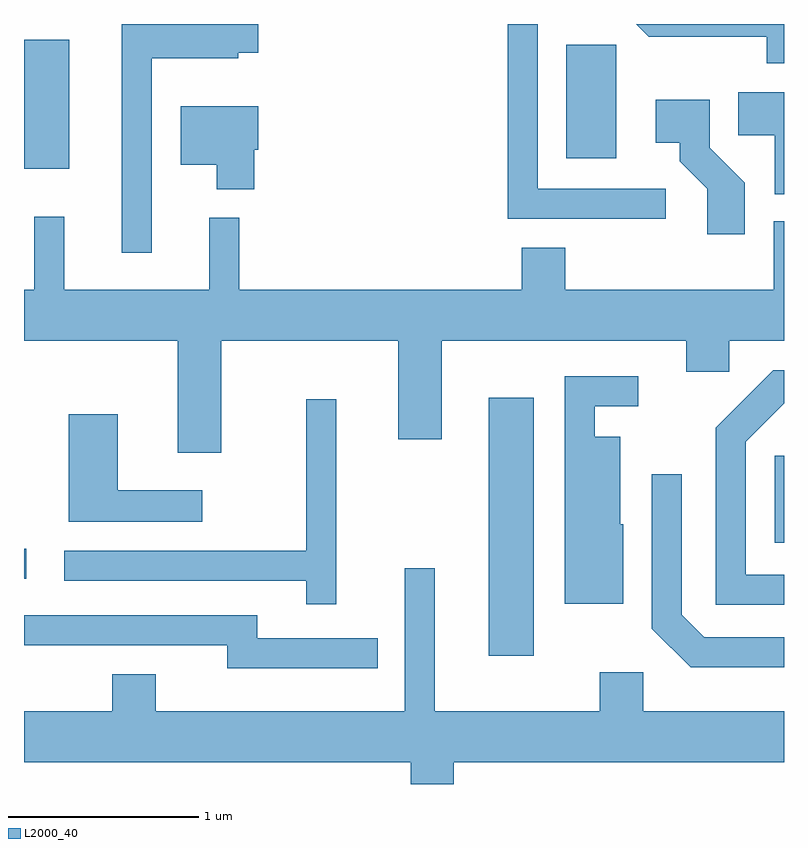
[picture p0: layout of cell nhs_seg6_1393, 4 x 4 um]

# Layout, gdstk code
import gdstk
lib = gdstk.Library(unit=1e-6, precision=1e-09)
def R(c, l, rs):  # rectangles x0, y0, x1, y1
    for r in rs: c.add(gdstk.rectangle(r[:2], r[2:], *l))
def P(c, l, *ps):  # polygons
    for p in ps: c.add(gdstk.Polygon(p, *l))
L2000_40 = (2000, 40)

nhs_seg6_1393 = lib.new_cell('nhs_seg6_1393')
R(nhs_seg6_1393, L2000_40, [(230.056,1532.836,230.294,1534.194), (227.611,1533.241,227.623,1533.399), (231.561,1533.431,231.611,1533.889), (227.611,1535.401,227.849,1536.079), (230.466,1535.456,230.729,1536.054)])
P(nhs_seg6_1393, L2000_40, [(230.988,1535.294),(230.314,1535.294),(230.314,1536.162),(230.156,1536.162),(230.156,1535.136),(230.988,1535.136)],
  [(231.611,1536.162),(230.833,1536.162),(230.899,1536.096),(231.521,1536.096),(231.521,1535.956),(231.611,1535.956)],
  [(228.284,1535.981),(228.739,1535.981),(228.739,1536.011),(228.844,1536.011),(228.844,1536.162),(228.126,1536.162),(228.126,1534.958),(228.284,1534.958)],
  [(231.611,1535.804),(231.371,1535.804),(231.371,1535.576),(231.561,1535.576),(231.561,1535.266),(231.611,1535.266)],
  [(231.404,1535.327),(231.219,1535.512),(231.219,1535.764),(230.936,1535.764),(230.936,1535.536),(231.061,1535.536),(231.061,1535.439),(231.206,1535.294),(231.206,1535.056),(231.404,1535.056)],
  [(228.824,1535.501),(228.844,1535.501),(228.844,1535.729),(228.436,1535.729),(228.436,1535.421),(228.626,1535.421),(228.626,1535.291),(228.824,1535.291)],
  [(228.649,1534.496),(229.581,1534.496),(229.581,1533.976),(229.809,1533.976),(229.809,1534.496),(231.096,1534.496),(231.096,1534.331),(231.324,1534.331),(231.324,1534.496),(231.611,1534.496),(231.611,1535.123),(231.556,1535.123),(231.556,1534.764),(230.459,1534.764),(230.459,1534.984),(230.231,1534.984),(230.231,1534.764),(228.744,1534.764),(228.744,1535.143),(228.586,1535.143),(228.586,1534.764),(227.824,1534.764),(227.824,1535.148),(227.666,1535.148),(227.666,1534.764),(227.611,1534.764),(227.611,1534.496),(228.421,1534.496),(228.421,1533.906),(228.649,1533.906)],
  [(231.611,1533.264),(231.409,1533.264),(231.409,1533.964),(231.611,1534.165),(231.611,1534.339),(231.554,1534.339),(231.251,1534.037),(231.251,1533.106),(231.611,1533.106)],
  [(230.764,1533.53),(230.749,1533.53),(230.749,1533.989),(230.614,1533.989),(230.614,1534.151),(230.843,1534.151),(230.843,1534.309),(230.456,1534.309),(230.456,1533.111),(230.764,1533.111)],
  [(229.254,1534.188),(229.096,1534.188),(229.096,1533.389),(227.823,1533.389),(227.823,1533.231),(229.096,1533.231),(229.096,1533.108),(229.254,1533.108)],
  [(228.548,1533.709),(228.104,1533.709),(228.104,1534.109),(227.846,1534.109),(227.846,1533.541),(228.548,1533.541)],
  [(231.611,1532.934),(231.192,1532.934),(231.074,1533.052),(231.074,1533.793),(230.916,1533.793),(230.916,1532.979),(231.119,1532.776),(231.611,1532.776)],
  [(231.611,1532.544),(230.869,1532.544),(230.869,1532.749),(230.641,1532.749),(230.641,1532.544),(229.774,1532.544),(229.774,1533.298),(229.616,1533.298),(229.616,1532.544),(228.304,1532.544),(228.304,1532.739),(228.076,1532.739),(228.076,1532.544),(227.611,1532.544),(227.611,1532.276),(229.646,1532.276),(229.646,1532.162),(229.874,1532.162),(229.874,1532.276),(231.611,1532.276)],
  [(229.473,1532.929),(228.839,1532.929),(228.839,1533.049),(227.611,1533.049),(227.611,1532.891),(228.681,1532.891),(228.681,1532.771),(229.473,1532.771)])

lib.write_gds('nhs_seg6_1393.gds')
